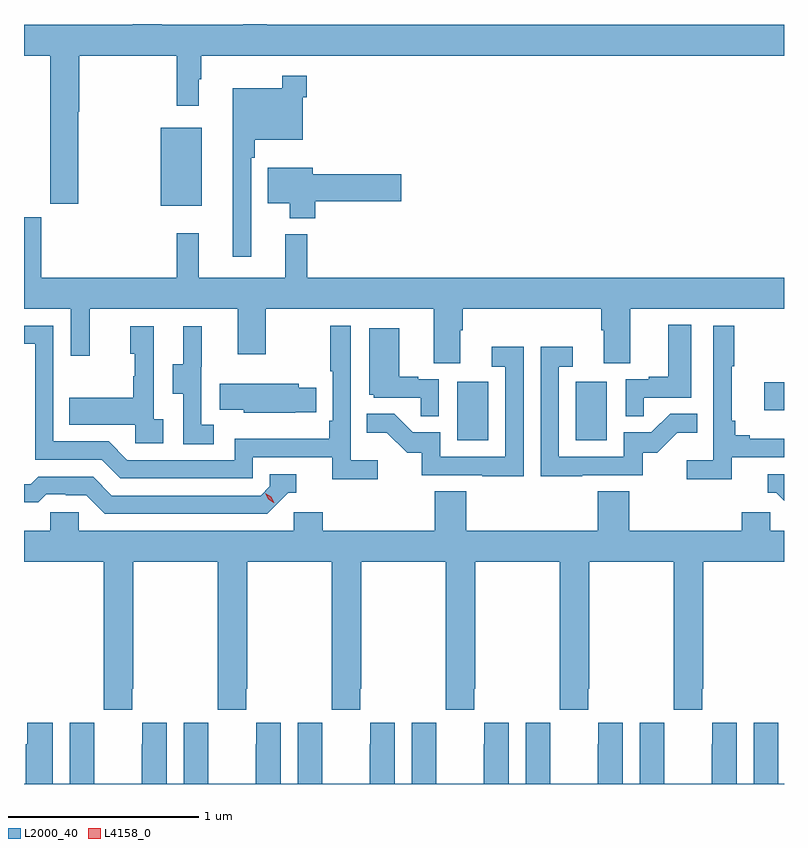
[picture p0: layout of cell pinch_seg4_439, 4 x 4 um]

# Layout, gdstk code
import gdstk
lib = gdstk.Library(unit=1e-6, precision=1e-09)
def R(c, l, rs):  # rectangles x0, y0, x1, y1
    for r in rs: c.add(gdstk.rectangle(r[:2], r[2:], *l))
def P(c, l, *ps):  # polygons
    for p in ps: c.add(gdstk.Polygon(p, *l))
L2000_40 = (2000, 40)
L4158_0 = (4158, 0)

pinch_seg4_439 = lib.new_cell('pinch_seg4_439')
R(pinch_seg4_439, L2000_40, [(899.516,789.468,899.68,789.775), (900.14,789.468,900.304,789.775), (901.131,789.626,901.236,789.774), (897.956,790.703,898.171,791.113)])
P(pinch_seg4_439, L2000_40, [(897.522,791.196),(897.527,791.196),(897.527,791.492),(898.039,791.492),(898.039,791.229),(898.156,791.229),(898.156,791.369),(898.168,791.369),(898.168,791.492),(901.236,791.492),(901.236,791.656),(898.513,791.656),(898.513,791.659),(898.391,791.659),(898.391,791.656),(897.961,791.656),(897.961,791.659),(897.809,791.659),(897.809,791.656),(897.236,791.656),(897.236,791.492),(897.374,791.492),(897.374,790.713),(897.522,790.713)],
  [(898.431,790.955),(898.451,790.955),(898.451,791.051),(898.704,791.051),(898.704,791.273),(898.724,791.273),(898.724,791.386),(898.596,791.386),(898.596,791.32),(898.334,791.32),(898.334,790.434),(898.431,790.434)],
  [(898.769,790.726),(899.221,790.726),(899.221,790.868),(898.756,790.868),(898.756,790.903),(898.52,790.903),(898.52,790.715),(898.634,790.715),(898.634,790.637),(898.769,790.637)],
  [(899.533,790.048),(899.546,790.048),(899.546,790.16),(900.275,790.16),(900.275,790.048),(900.287,790.048),(900.287,789.874),(900.427,789.874),(900.427,790.16),(901.236,790.16),(901.236,790.324),(898.727,790.324),(898.727,790.552),(898.61,790.552),(898.61,790.324),(898.157,790.324),(898.157,790.558),(898.039,790.558),(898.039,790.324),(897.328,790.324),(897.328,790.641),(897.236,790.641),(897.236,790.16),(897.483,790.16),(897.483,789.912),(897.581,789.912),(897.581,790.16),(898.361,790.16),(898.361,789.921),(898.509,789.921),(898.509,790.16),(899.393,790.16),(899.393,789.874),(899.533,789.874)],
  [(900.497,789.693),(900.748,789.693),(900.748,790.075),(900.626,790.075),(900.626,789.802),(900.523,789.802),(900.523,789.789),(900.402,789.789),(900.402,789.595),(900.497,789.595)],
  [(899.098,789.364),(898.956,789.364),(898.956,790.072),(898.848,790.072),(898.848,789.832),(898.86,789.832),(898.86,789.571),(898.843,789.571),(898.843,789.475),(898.344,789.475),(898.344,789.363),(897.78,789.363),(897.681,789.462),(897.39,789.462),(897.39,790.071),(897.236,790.071),(897.236,789.975),(897.294,789.975),(897.294,789.366),(897.644,789.366),(897.743,789.267),(898.44,789.267),(898.44,789.378),(898.859,789.378),(898.859,789.262),(899.098,789.262)],
  [(900.962,789.378),(901.236,789.378),(901.236,789.475),(901.057,789.475),(901.057,789.494),(900.98,789.494),(900.98,789.571),(900.961,789.571),(900.961,789.859),(900.973,789.859),(900.973,790.072),(900.864,790.072),(900.864,789.364),(900.723,789.364),(900.723,789.262),(900.962,789.262)],
  [(897.97,789.578),(897.918,789.578),(897.918,790.069),(897.794,790.069),(897.794,789.924),(897.82,789.924),(897.82,789.806),(897.81,789.806),(897.81,789.691),(897.475,789.691),(897.475,789.551),(897.822,789.551),(897.822,789.453),(897.97,789.453)],
  [(898.234,789.551),(898.17,789.551),(898.17,789.855),(898.172,789.855),(898.172,790.069),(898.073,790.069),(898.073,789.867),(898.019,789.867),(898.019,789.712),(898.074,789.712),(898.074,789.448),(898.234,789.448)],
  [(899.418,789.789),(899.312,789.789),(899.312,789.802),(899.212,789.802),(899.212,790.057),(899.054,790.057),(899.054,789.708),(899.076,789.708),(899.076,789.693),(899.323,789.693),(899.323,789.595),(899.418,789.595)],
  [(899.865,789.961),(899.697,789.961),(899.697,789.855),(899.769,789.855),(899.769,789.381),(899.427,789.381),(899.427,789.51),(899.283,789.51),(899.185,789.608),(899.041,789.608),(899.041,789.509),(899.145,789.509),(899.252,789.402),(899.329,789.402),(899.329,789.285),(899.647,789.285),(899.647,789.28),(899.865,789.28)],
  [(900.173,789.285),(900.492,789.285),(900.492,789.402),(900.568,789.402),(900.675,789.509),(900.779,789.509),(900.779,789.608),(900.636,789.608),(900.538,789.51),(900.393,789.51),(900.393,789.381),(900.051,789.381),(900.051,789.855),(900.124,789.855),(900.124,789.961),(899.955,789.961),(899.955,789.28),(900.173,789.28)],
  [(898.664,789.615),(898.775,789.615),(898.775,789.744),(898.681,789.744),(898.681,789.766),(898.267,789.766),(898.267,789.629),(898.392,789.629),(898.392,789.614),(898.664,789.614)],
  [(898.626,789.192),(898.669,789.192),(898.669,789.288),(898.53,789.288),(898.53,789.225),(898.482,789.177),(897.699,789.177),(897.6,789.276),(897.311,789.276),(897.272,789.237),(897.236,789.237),(897.236,789.141),(897.311,789.141),(897.353,789.183),(897.456,789.183),(897.456,789.18),(897.563,789.18),(897.662,789.081),(898.515,789.081)],
  [(901.236,789.288),(901.151,789.288),(901.151,789.192),(901.194,789.192),(901.236,789.15)],
  [(897.525,789.09),(897.375,789.09),(897.375,788.992),(897.236,788.992),(897.236,788.828),(897.655,788.828),(897.655,788.161),(897.657,788.161),(897.657,788.049),(897.807,788.049),(897.807,788.161),(897.81,788.161),(897.81,788.828),(898.255,788.828),(898.255,788.161),(898.257,788.161),(898.257,788.049),(898.407,788.049),(898.407,788.161),(898.41,788.161),(898.41,788.828),(898.855,788.828),(898.855,788.161),(898.857,788.161),(898.857,788.049),(899.007,788.049),(899.007,788.161),(899.01,788.161),(899.01,788.828),(899.455,788.828),(899.455,788.161),(899.457,788.161),(899.457,788.049),(899.607,788.049),(899.607,788.161),(899.61,788.161),(899.61,788.828),(900.055,788.828),(900.055,788.161),(900.057,788.161),(900.057,788.049),(900.207,788.049),(900.207,788.161),(900.21,788.161),(900.21,788.828),(900.655,788.828),(900.655,788.161),(900.657,788.161),(900.657,788.049),(900.807,788.049),(900.807,788.161),(900.81,788.161),(900.81,788.828),(901.236,788.828),(901.236,788.992),(901.164,788.992),(901.164,789.09),(901.013,789.09),(901.013,788.992),(900.422,788.992),(900.422,789.2),(900.257,789.2),(900.257,788.992),(899.564,788.992),(899.564,789.2),(899.399,789.2),(899.399,788.992),(898.808,788.992),(898.808,789.09),(898.656,789.09),(898.656,788.992),(897.525,788.992)],
  [(901.236,787.66),(901.207,787.66),(901.207,787.868),(901.206,787.868),(901.206,787.981),(901.076,787.981),(901.076,787.66),(900.988,787.66),(900.988,787.981),(900.858,787.981),(900.858,787.868),(900.857,787.868),(900.857,787.66),(900.607,787.66),(900.607,787.868),(900.606,787.868),(900.606,787.981),(900.476,787.981),(900.476,787.66),(900.388,787.66),(900.388,787.981),(900.258,787.981),(900.258,787.868),(900.257,787.868),(900.257,787.66),(900.007,787.66),(900.007,787.868),(900.006,787.868),(900.006,787.981),(899.876,787.981),(899.876,787.66),(899.788,787.66),(899.788,787.981),(899.658,787.981),(899.658,787.868),(899.657,787.868),(899.657,787.66),(899.407,787.66),(899.407,787.868),(899.406,787.868),(899.406,787.981),(899.276,787.981),(899.276,787.66),(899.188,787.66),(899.188,787.981),(899.058,787.981),(899.058,787.868),(899.057,787.868),(899.057,787.66),(898.807,787.66),(898.807,787.868),(898.806,787.868),(898.806,787.981),(898.676,787.981),(898.676,787.66),(898.588,787.66),(898.588,787.981),(898.458,787.981),(898.458,787.868),(898.457,787.868),(898.457,787.66),(898.207,787.66),(898.207,787.868),(898.206,787.868),(898.206,787.981),(898.076,787.981),(898.076,787.66),(897.988,787.66),(897.988,787.981),(897.858,787.981),(897.858,787.868),(897.857,787.868),(897.857,787.66),(897.607,787.66),(897.607,787.868),(897.606,787.868),(897.606,787.981),(897.476,787.981),(897.476,787.66),(897.388,787.66),(897.388,787.981),(897.254,787.981),(897.254,787.868),(897.245,787.868),(897.245,787.66),(897.236,787.66),(897.236,787.659),(901.236,787.659)])
P(pinch_seg4_439, L4158_0, [(898.551,789.138),(898.521,789.157),(898.505,789.19),(898.505,789.19),(898.505,789.19),(898.536,789.171),(898.552,789.138),(898.552,789.138)])

lib.write_gds('pinch_seg4_439.gds')
